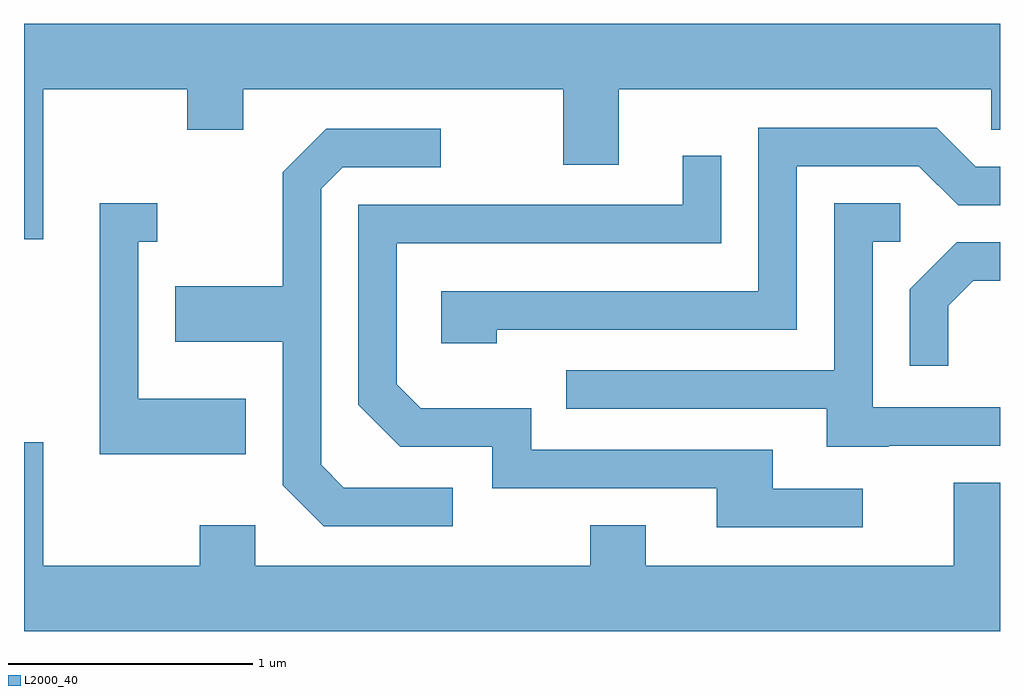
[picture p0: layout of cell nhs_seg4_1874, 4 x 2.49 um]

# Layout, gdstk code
import gdstk
lib = gdstk.Library(unit=1e-6, precision=1e-09)
def P(c, l, *ps):  # polygons
    for p in ps: c.add(gdstk.Polygon(p, *l))
L2000_40 = (2000, 40)

nhs_seg4_1874 = lib.new_cell('nhs_seg4_1874')
P(nhs_seg4_1874, L2000_40, [(239.689,1332.476),(240.281,1332.476),(240.281,1332.311),(240.509,1332.311),(240.509,1332.476),(241.821,1332.476),(241.821,1332.166),(242.049,1332.166),(242.049,1332.476),(243.576,1332.476),(243.576,1332.311),(243.611,1332.311),(243.611,1332.744),(239.611,1332.744),(239.611,1331.861),(239.689,1331.861)],
  [(241.549,1331.491),(242.779,1331.491),(242.779,1332.161),(243.279,1332.161),(243.439,1332.001),(243.611,1332.001),(243.611,1332.159),(243.512,1332.159),(243.352,1332.319),(242.621,1332.319),(242.621,1331.649),(241.321,1331.649),(241.321,1331.436),(241.549,1331.436)],
  [(241.368,1330.844),(240.922,1330.844),(240.829,1330.937),(240.829,1332.069),(240.917,1332.156),(241.318,1332.156),(241.318,1332.314),(240.849,1332.314),(240.671,1332.137),(240.671,1331.669),(240.231,1331.669),(240.231,1331.441),(240.671,1331.441),(240.671,1330.854),(240.839,1330.686),(241.368,1330.686)],
  [(243.048,1330.839),(242.679,1330.839),(242.679,1330.999),(241.689,1330.999),(241.689,1331.169),(241.237,1331.169),(241.139,1331.267),(241.139,1331.846),(242.469,1331.846),(242.469,1332.203),(242.311,1332.203),(242.311,1332.004),(240.981,1332.004),(240.981,1331.184),(241.154,1331.011),(241.531,1331.011),(241.531,1330.841),(242.451,1330.841),(242.451,1330.681),(243.048,1330.681)],
  [(240.519,1331.209),(240.079,1331.209),(240.079,1331.851),(240.158,1331.851),(240.158,1332.009),(239.921,1332.009),(239.921,1330.981),(240.519,1330.981)],
  [(243.155,1331.016),(243.611,1331.016),(243.611,1331.174),(243.089,1331.174),(243.089,1331.851),(243.203,1331.851),(243.203,1332.009),(242.931,1332.009),(242.931,1331.324),(241.833,1331.324),(241.833,1331.166),(242.901,1331.166),(242.901,1331.011),(243.155,1331.011)],
  [(243.399,1331.589),(243.502,1331.691),(243.611,1331.691),(243.611,1331.849),(243.434,1331.849),(243.241,1331.657),(243.241,1331.343),(243.399,1331.343)],
  [(241.931,1330.689),(241.931,1330.524),(240.559,1330.524),(240.559,1330.689),(240.331,1330.689),(240.331,1330.524),(239.689,1330.524),(239.689,1331.029),(239.611,1331.029),(239.611,1330.256),(243.611,1330.256),(243.611,1330.864),(243.421,1330.864),(243.421,1330.524),(242.159,1330.524),(242.159,1330.689)])

lib.write_gds('nhs_seg4_1874.gds')
